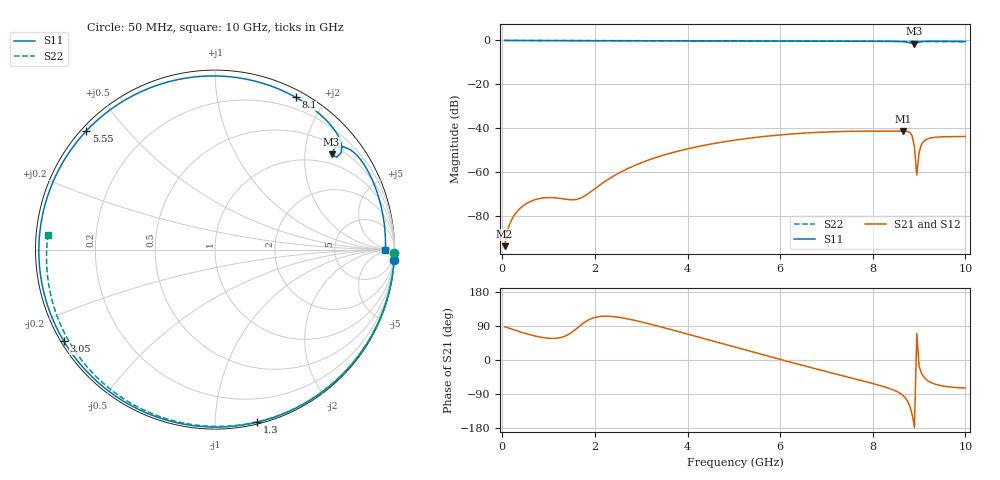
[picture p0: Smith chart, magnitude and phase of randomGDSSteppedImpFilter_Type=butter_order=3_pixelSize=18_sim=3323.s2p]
! freq	dB(S11)	phase(S11)	dB(S12)	phase(S12)
!  dB(S21)	phase(S21)	dB(S22)	phase(S22)
!S-par simulation data
#  GHz  S  DB  R 50
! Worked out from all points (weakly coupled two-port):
!   200 points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, 50 MHz to 10 GHz, reference 50 ohm
!   highest |S21| = -41.21 dB at 8.65 GHz (marker M1); lowest = -93.5 dB at 50 MHz (marker M2)
!   lowest |S11| = -1.5 dB at 8.9 GHz (marker M3), VSWR 11.42, Z = 36.6 + j131 ohm
!   |S11| at or under -10 dB: nowhere
!   |S22| runs from -0.6 to 0.0 dB; largest |S21 - S12| = 0
!   S11 on the Smith chart (normalised r, x): 50 MHz: 0, -36; 1.3 GHz: 0.01, -1.28; 3.05 GHz: 0.01, -0.28; 5.55 GHz: 0.01, +0.39; 8.1 GHz: 0.08, +1.66; 10 GHz: 38, -3
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0.05  -0.00 -3.2  -93.54 88.0  -93.54 88.0  -0.00 -1.1
0.25  -0.02 -15.7  -79.78 79.6  -79.78 79.6  -0.01 -5.3
0.7  -0.05 -43.1  -72.47 63.5  -72.47 63.5  -0.02 -14.8
1.3  -0.09 -76.2  -71.99 60.6  -71.99 60.6  -0.03 -27.3
1.75  -0.10 -98.0  -71.05 97.1  -71.05 97.1  -0.05 -36.5
2.4  -0.12 -125.3  -61.69 114.5  -61.69 114.5  -0.06 -49.6
3.05  -0.14 -148.8  -55.21 99.1  -55.21 99.1  -0.08 -62.3
3.4  -0.14 -160.3  -52.68 88.2  -52.68 88.2  -0.09 -69.0
4.2  -0.17 175.4  -48.36 61.7  -48.36 61.7  -0.12 -83.9
5.05  -0.20 151.3  -45.24 33.1  -45.24 33.1  -0.15 -99.1
5.55  -0.22 137.4  -43.90 16.4  -43.90 16.4  -0.18 -107.9
6.7  -0.26 104.8  -41.91 -21.1  -41.91 -21.1  -0.25 -127.5
8.1  -0.35 62.1  -41.24 -65.4  -41.24 -65.4  -0.37 -151.2
8.35  -0.40 53.9  -41.25 -74.6  -41.25 -74.6  -0.39 -155.5
8.65  -0.57 43.1  -41.21 -93.4  -41.21 -93.4  -0.42 -160.6
8.8  -1.05 37.5  -41.83 -121.6  -41.83 -121.6  -0.44 -163.3
8.85  -1.40 37.2  -43.38 -143.3  -43.38 -143.3  -0.45 -164.1
8.9  -1.53 39.3  -48.46 -178.0  -48.46 -178.0  -0.46 -165.0
8.95  -1.13 40.3  -61.15 70.1  -61.15 70.1  -0.46 -165.9
9  -0.75 38.7  -50.90 -15.8  -50.90 -15.8  -0.47 -166.7
9.1  -0.46 33.9  -45.89 -44.5  -45.89 -44.5  -0.48 -168.5
10  -0.45 -0.2  -43.67 -74.0  -43.67 -74.0  -0.59 175.1
